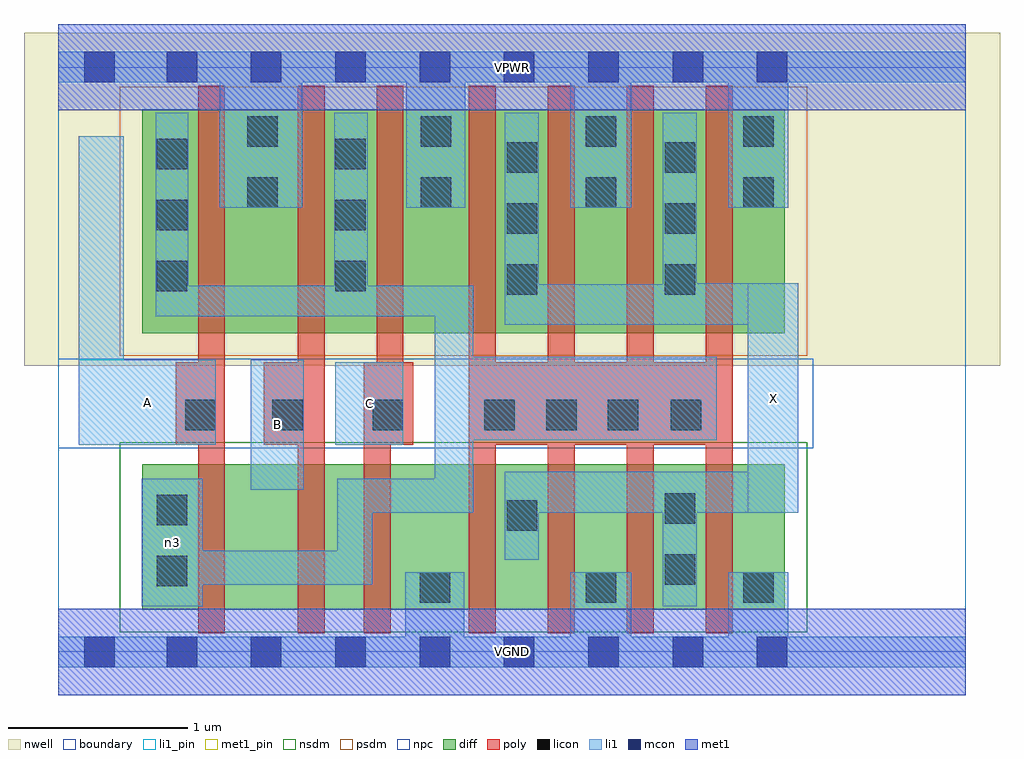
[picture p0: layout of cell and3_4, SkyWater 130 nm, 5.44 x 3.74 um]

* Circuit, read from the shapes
.subckt and3_4 A B C VGND VPWR X n3
XM1 n1 A n3 VSUBS sky130_fd_pr__nfet_01v8 w=0.81 l=0.15
XM2 n2 B n1 VSUBS sky130_fd_pr__nfet_01v8 w=0.81 l=0.15
XM3 VGND C n2 VSUBS sky130_fd_pr__nfet_01v8 w=0.81 l=0.15
XM4 X n3 VGND VSUBS sky130_fd_pr__nfet_01v8 w=0.81 l=0.15 m=4
XM5 VPWR A n3 n4 sky130_fd_pr__pfet_01v8 w=1.25 l=0.15
XM6 n3 B VPWR n4 sky130_fd_pr__pfet_01v8 w=1.25 l=0.15
XM7 VPWR C n3 n4 sky130_fd_pr__pfet_01v8 w=1.25 l=0.15
XM8 X n3 VPWR n4 sky130_fd_pr__pfet_01v8 w=1.25 l=0.15 m=4
.ends

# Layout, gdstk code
import gdstk
lib = gdstk.Library(unit=1e-6, precision=1e-09)
def R(c, l, rs):  # rectangles x0, y0, x1, y1
    for r in rs: c.add(gdstk.rectangle(r[:2], r[2:], *l))
def A(c, l, x, y, w, h, nx, ny, dx, dy):  # array of equal rectangles
    R(c, l, [(x+i*dx, y+j*dy, x+i*dx+w, y+j*dy+h) for i in range(nx) for j in range(ny)])
nwell = (64, 20)
diff = (65, 20)
poly = (66, 20)
licon = (66, 44)
li1_pin = (67, 16)
li1 = (67, 20)
mcon = (67, 44)
met1_pin = (68, 16)
met1 = (68, 20)
nsdm = (93, 44)
psdm = (94, 20)
npc = (95, 20)
boundary = (235, 4)

and3_4 = lib.new_cell('and3_4')
R(and3_4, nwell, [(-0.19,1.595,5.25,3.45), (0,1.595,5.06,3.45)])
R(and3_4, diff, [(0.47,0.235,4.05,1.045), (0.47,1.775,4.05,3.025)])
A(and3_4, poly, 2.29, 0.105, 0.15, 3.05, 4, 1, 0.44, 0)
R(and3_4, poly, [(0.78,0.105,0.93,3.155), (1.335,0.105,1.485,3.155), (1.705,0.105,1.855,1.615), (0.655,1.155,0.93,1.615), (1.145,1.155,1.485,1.615), (1.705,1.155,1.98,1.615), (1.775,1.155,1.925,3.155), (2.29,1.155,3.76,1.615)])
A(and3_4, licon, 2.375, 1.235, 0.17, 0.17, 3, 1, 0.345, 0)
A(and3_4, licon, 2.5, 1.99, 0.17, 0.17, 1, 3, 0, 0.34)
A(and3_4, licon, 3.38, 1.99, 0.17, 0.17, 1, 3, 0, 0.34)
A(and3_4, licon, 0.55, 2.01, 0.17, 0.17, 1, 3, 0, 0.34)
A(and3_4, licon, 1.545, 2.01, 0.17, 0.17, 1, 3, 0, 0.34)
R(and3_4, licon, [(2.015,0.275,2.185,0.445), (2.94,0.275,3.11,0.445), (3.82,0.275,3.99,0.445), (0.55,0.365,0.72,0.535), (3.38,0.375,3.55,0.545), (2.5,0.675,2.67,0.845), (0.55,0.705,0.72,0.875), (3.38,0.715,3.55,0.885), (0.71,1.235,0.88,1.405), (1.195,1.235,1.365,1.405), (1.755,1.235,1.925,1.405), (3.415,1.235,3.585,1.405), (1.055,2.475,1.225,2.645), (2.02,2.475,2.19,2.645), (2.94,2.475,3.11,2.645), (3.82,2.475,3.99,2.645), (1.055,2.815,1.225,2.985), (2.02,2.815,2.19,2.985), (2.94,2.815,3.11,2.985), (3.82,2.815,3.99,2.985)])
R(and3_4, li1_pin, [(3.845,0.775,4.125,2.055), (1.075,0.905,1.37,1.63), (0.115,1.155,0.88,1.63), (1.545,1.155,1.925,1.615)])
R(and3_4, li1, [(0,-0.085,5.06,0.085), (1.935,-0.085,2.265,0.445), (2.855,-0.085,3.195,0.445), (3.735,-0.085,4.07,0.445), (0.465,0.255,0.805,0.965), (3.37,0.255,3.56,1.005), (0.465,0.375,1.75,0.565), (1.555,0.375,1.75,0.965), (2.49,0.515,2.68,1.005), (1.555,0.775,2.315,0.965), (2.1,0.775,2.315,2.04), (2.49,0.775,4.125,1.005), (3.845,0.775,4.125,2.055), (1.075,0.905,1.37,1.63), (0.115,1.155,0.365,2.875), (0.115,1.155,0.88,1.63), (1.545,1.155,1.925,1.615), (2.1,1.18,3.67,1.645), (2.49,1.825,4.125,2.05), (2.49,1.825,2.68,3.005), (3.37,1.825,3.56,3.005), (3.37,1.825,4.125,2.055), (0.545,1.87,2.315,2.04), (0.545,1.87,0.725,3.005), (1.54,1.87,1.725,3.005), (0.9,2.475,1.36,3.345), (1.94,2.475,2.27,3.345), (2.855,2.475,3.195,3.345), (3.735,2.475,4.07,3.345), (0,3.175,5.06,3.345)])
A(and3_4, mcon, 0.605, -0.085, 0.17, 0.17, 8, 2, 0.47, 3.26)
R(and3_4, mcon, [(0.145,-0.085,0.315,0.085), (0.145,3.175,0.315,3.345)])
R(and3_4, met1_pin, [(0,-0.24,5.06,0.24), (0,3.02,5.06,3.5)])
R(and3_4, met1, [(0,-0.24,5.06,0.24), (0,3.02,5.06,3.5)])
R(and3_4, nsdm, [(0.345,0.11,4.175,1.17)])
R(and3_4, psdm, [(0.345,1.65,4.175,3.15)])
R(and3_4, npc, [(0,1.135,4.21,1.635)])
R(and3_4, boundary, [(0,0,5.06,3.26)])
and3_4.add(gdstk.Label('A', (0.497,1.392), layer=67, texttype=5))
and3_4.add(gdstk.Label('B', (1.222,1.267), layer=67, texttype=5))
and3_4.add(gdstk.Label('C', (1.735,1.385), layer=67, texttype=5))
and3_4.add(gdstk.Label('X', (3.985,1.415), layer=67, texttype=5))
and3_4.add(gdstk.Label('n3', (0.635,0.61), layer=67, texttype=5))
and3_4.add(gdstk.Label('VPWR', (2.53,3.26), layer=68, texttype=5))
and3_4.add(gdstk.Label('VGND', (2.53,0), layer=68, texttype=5))
and3_4.add(gdstk.Label('A', (0.497,1.392), layer=67, texttype=16))
and3_4.add(gdstk.Label('B', (1.222,1.267), layer=67, texttype=16))
and3_4.add(gdstk.Label('C', (1.735,1.385), layer=67, texttype=16))
and3_4.add(gdstk.Label('X', (3.985,1.415), layer=67, texttype=16))
and3_4.add(gdstk.Label('VPWR', (2.53,3.26), layer=68, texttype=16))
and3_4.add(gdstk.Label('VGND', (2.53,0), layer=68, texttype=16))

lib.write_gds('and3_4.gds')
